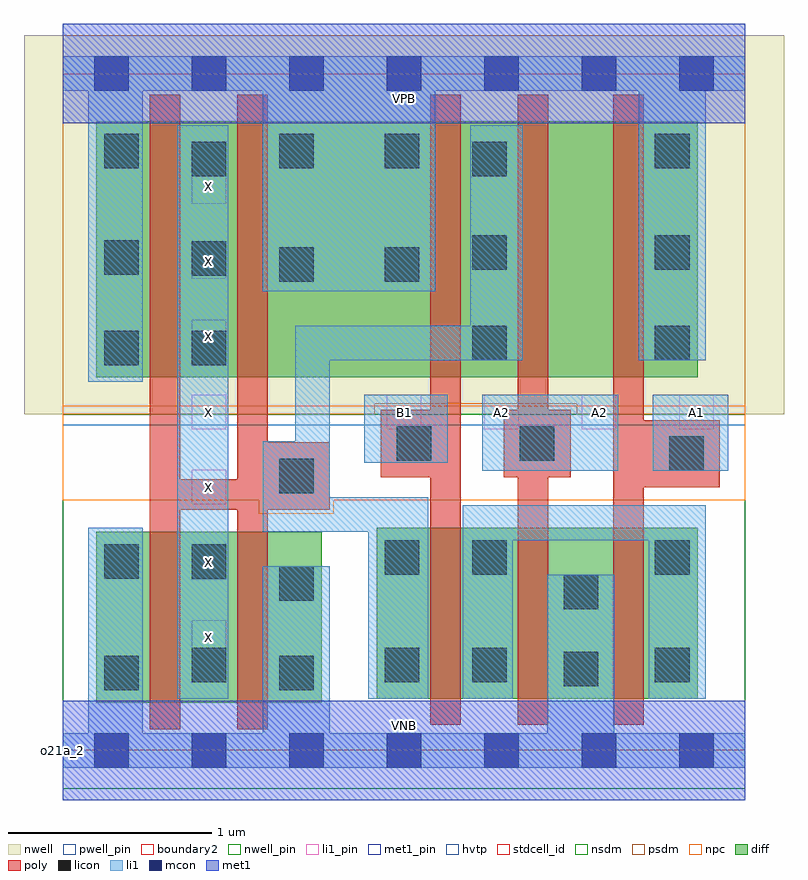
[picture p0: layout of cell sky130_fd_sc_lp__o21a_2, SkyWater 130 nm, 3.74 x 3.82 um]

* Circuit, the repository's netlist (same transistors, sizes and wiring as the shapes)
* Copyright 2020 The SkyWater PDK Authors
*
* Licensed under the Apache License, Version 2.0 (the "License");
* you may not use this file except in compliance with the License.
* You may obtain a copy of the License at
*
*     https://www.apache.org/licenses/LICENSE-2.0
*
* Unless required by applicable law or agreed to in writing, software
* distributed under the License is distributed on an "AS IS" BASIS,
* WITHOUT WARRANTIES OR CONDITIONS OF ANY KIND, either express or implied.
* See the License for the specific language governing permissions and
* limitations under the License.
*
* SPDX-License-Identifier: Apache-2.0

.SUBCKT sky130_fd_sc_lp__o21a_2 A1 A2 B1 VGND VNB VPB VPWR X
*.PININFO A1:I A2:I B1:I VGND:I VNB:I VPB:I VPWR:I X:O
MMPA0 VPWR A1 sndA1 VPB sky130_fd_pr__pfet_01v8_hvt m=1 w=1.26U l=0.15U mult=1
+ sa=0.265 sb=0.265 sd=0.28 area=0.063 perim=1.14
MMPA1 sndA1 A2 y VPB sky130_fd_pr__pfet_01v8_hvt m=1 w=1.26U l=0.15U mult=1 sa=0.265
+ sb=0.265 sd=0.28 area=0.063 perim=1.14
MMPB0 VPWR B1 y VPB sky130_fd_pr__pfet_01v8_hvt m=1 w=1.26U l=0.15U mult=1 sa=0.265
+ sb=0.265 sd=0.28 area=0.063 perim=1.14
MMIPX X y VPWR VPB sky130_fd_pr__pfet_01v8_hvt m=2 w=1.26U l=0.15U mult=1 sa=0.265
+ sb=0.265 sd=0.28 area=0.063 perim=1.14
MMNA0 pndA A1 VGND VNB sky130_fd_pr__nfet_01v8 m=1 w=0.84U l=0.15U mult=1 sa=0.265
+ sb=0.265 sd=0.28 area=0.063 perim=1.14
MMNA1 pndA A2 VGND VNB sky130_fd_pr__nfet_01v8 m=1 w=0.84U l=0.15U mult=1 sa=0.265
+ sb=0.265 sd=0.28 area=0.063 perim=1.14
MMNB0 y B1 pndA VNB sky130_fd_pr__nfet_01v8 m=1 w=0.84U l=0.15U mult=1 sa=0.265
+ sb=0.265 sd=0.28 area=0.063 perim=1.14
MMINX X y VGND VNB sky130_fd_pr__nfet_01v8 m=2 w=0.84U l=0.15U mult=1 sa=0.265
+ sb=0.265 sd=0.28 area=0.063 perim=1.14
.ENDS sky130_fd_sc_lp__o21a_2

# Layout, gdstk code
import gdstk
lib = gdstk.Library(unit=1e-6, precision=1e-09)
def R(c, l, rs):  # rectangles x0, y0, x1, y1
    for r in rs: c.add(gdstk.rectangle(r[:2], r[2:], *l))
def A(c, l, x, y, w, h, nx, ny, dx, dy):  # array of equal rectangles
    R(c, l, [(x+i*dx, y+j*dy, x+i*dx+w, y+j*dy+h) for i in range(nx) for j in range(ny)])
def P(c, l, *ps):  # polygons
    for p in ps: c.add(gdstk.Polygon(p, *l))
nwell_pin = (64, 16)
nwell = (64, 20)
diff = (65, 20)
poly = (66, 20)
licon = (66, 44)
li1_pin = (67, 16)
li1 = (67, 20)
mcon = (67, 44)
met1_pin = (68, 16)
met1 = (68, 20)
hvtp = (78, 44)
stdcell_id = (81, 4)
nsdm = (93, 44)
psdm = (94, 20)
npc = (95, 20)
pwell_pin = (122, 16)
boundary2 = (236, 0)

sky130_fd_sc_lp__o21a_2 = lib.new_cell('sky130_fd_sc_lp__o21a_2')
R(sky130_fd_sc_lp__o21a_2, nwell_pin, [(0,3.085,3.36,3.33)])
R(sky130_fd_sc_lp__o21a_2, nwell, [(-0.19,1.655,3.55,3.52)])
R(sky130_fd_sc_lp__o21a_2, diff, [(0.165,0.235,1.275,1.075), (1.545,0.255,3.125,1.095), (0.165,1.835,3.125,3.095)])
P(sky130_fd_sc_lp__o21a_2, poly, [(1.315,1.515),(1.01,1.515),(1.01,3.225),(0.86,3.225),(0.86,1.335),(0.58,1.335),(0.58,3.225),(0.43,3.225),(0.43,0.105),(0.58,0.105),(0.58,1.185),(0.86,1.185),(0.86,0.105),(1.01,0.105),(1.01,1.185),(1.315,1.185)],
  [(1.96,3.225),(1.81,3.225),(1.81,1.675),(1.565,1.675),(1.565,1.345),(1.81,1.345),(1.81,0.125),(1.96,0.125)],
  [(2.5,1.675),(2.39,1.675),(2.39,3.225),(2.24,3.225),(2.24,1.675),(2.17,1.675),(2.17,1.345),(2.24,1.345),(2.24,0.125),(2.39,0.125),(2.39,1.345),(2.5,1.345)],
  [(3.235,1.625),(2.86,1.625),(2.86,3.225),(2.71,3.225),(2.71,0.125),(2.86,0.125),(2.86,1.295),(3.235,1.295)])
R(sky130_fd_sc_lp__o21a_2, licon, [(0.205,0.295,0.375,0.465), (1.065,0.295,1.235,0.465), (2.465,0.315,2.635,0.485), (0.635,0.335,0.805,0.505), (1.585,0.335,1.755,0.505), (2.015,0.335,2.185,0.505), (2.915,0.335,3.085,0.505), (2.465,0.695,2.635,0.865), (1.065,0.735,1.235,0.905), (0.205,0.845,0.375,1.015), (0.635,0.845,0.805,1.015), (1.585,0.865,1.755,1.035), (2.015,0.865,2.185,1.035), (2.915,0.865,3.085,1.035), (1.065,1.265,1.235,1.435), (2.985,1.375,3.155,1.545), (1.645,1.425,1.815,1.595), (2.25,1.425,2.42,1.595), (0.205,1.895,0.375,2.065), (0.635,1.895,0.805,2.065), (2.015,1.92,2.185,2.09), (2.915,1.92,3.085,2.09), (1.065,2.305,1.235,2.475), (1.585,2.305,1.755,2.475), (0.635,2.335,0.805,2.505), (0.205,2.34,0.375,2.51), (2.015,2.365,2.185,2.535), (2.915,2.365,3.085,2.535), (0.635,2.825,0.805,2.995), (2.015,2.825,2.185,2.995), (0.205,2.865,0.375,3.035), (1.065,2.865,1.235,3.035), (1.585,2.865,1.755,3.035), (2.915,2.865,3.085,3.035)])
A(sky130_fd_sc_lp__o21a_2, li1_pin, 0.635, 0.47, 0.17, 0.17, 1, 7, 0, 0.37)
A(sky130_fd_sc_lp__o21a_2, li1_pin, 1.595, 1.58, 0.17, 0.17, 4, 1, 0.48, 0)
R(sky130_fd_sc_lp__o21a_2, li1, [(0.565,0.255,0.815,3.075), (2.065,1.375,2.735,1.75), (2.905,1.375,3.275,1.75), (1.485,1.415,1.895,1.75)])
P(sky130_fd_sc_lp__o21a_2, li1, [(2.835,1.92),(2.835,3.245),(1.835,3.245),(1.835,2.26),(0.985,2.26),(0.985,3.245),(0.395,3.245),(0.395,1.815),(0.125,1.815),(0.125,3.245),(0,3.245),(0,3.415),(3.36,3.415),(3.36,3.245),(3.165,3.245),(3.165,1.92)],
  [(0.985,0.085),(0.985,0.905),(1.315,0.905),(1.315,0.085),(2.385,0.085),(2.385,0.865),(2.715,0.865),(2.715,0.085),(3.36,0.085),(3.36,-0.085),(0,-0.085),(0,0.085),(0.125,0.085),(0.125,1.095),(0.395,1.095),(0.395,0.085)],
  [(1.145,2.09),(2.005,2.09),(2.005,3.075),(2.265,3.075),(2.265,1.92),(1.315,1.92),(1.315,1.245),(1.8,1.245),(1.8,0.255),(1.505,0.255),(1.505,1.075),(0.985,1.075),(0.985,1.52),(1.145,1.52)],
  [(2.885,1.035),(2.215,1.035),(2.215,0.255),(1.97,0.255),(1.97,1.205),(3.165,1.205),(3.165,0.255),(2.885,0.255)])
A(sky130_fd_sc_lp__o21a_2, mcon, 0.155, -0.085, 0.17, 0.17, 7, 2, 0.48, 3.33)
R(sky130_fd_sc_lp__o21a_2, met1_pin, [(0,0,3.36,0.245), (0,3.085,3.36,3.33)])
R(sky130_fd_sc_lp__o21a_2, met1, [(0,-0.245,3.36,0.245), (0,3.085,3.36,3.575)])
R(sky130_fd_sc_lp__o21a_2, hvtp, [(0,1.6,3.36,3.33)])
R(sky130_fd_sc_lp__o21a_2, stdcell_id, [(0,0,3.36,3.33)])
R(sky130_fd_sc_lp__o21a_2, nsdm, [(0,-0.19,3.36,1.655)])
P(sky130_fd_sc_lp__o21a_2, psdm, [(3.36,3.52),(0,3.52),(0,1.655),(1.535,1.655),(1.535,1.705),(2.53,1.705),(2.53,1.655),(3.36,1.655)])
P(sky130_fd_sc_lp__o21a_2, npc, [(3.36,1.695),(0,1.695),(0,1.23),(0.965,1.23),(0.965,1.165),(1.335,1.165),(1.335,1.23),(3.36,1.23)])
R(sky130_fd_sc_lp__o21a_2, pwell_pin, [(0,0,3.36,0.245)])
R(sky130_fd_sc_lp__o21a_2, boundary2, [(0,0,3.36,3.33)])
sky130_fd_sc_lp__o21a_2.add(gdstk.Label('VNB', (1.68,0.123), layer=64, texttype=59))
sky130_fd_sc_lp__o21a_2.add(gdstk.Label('VPB', (1.68,3.208), layer=64, texttype=5))
sky130_fd_sc_lp__o21a_2.add(gdstk.Label('o21a_2', (0,0), layer=83, texttype=44))
sky130_fd_sc_lp__o21a_2.add(gdstk.Label('VPWR', (1.68,3.208), layer=68, texttype=5))
sky130_fd_sc_lp__o21a_2.add(gdstk.Label('VGND', (1.68,0.123), layer=68, texttype=5))
sky130_fd_sc_lp__o21a_2.add(gdstk.Label('X', (0.72,0.555), layer=67, texttype=5))
sky130_fd_sc_lp__o21a_2.add(gdstk.Label('X', (0.72,0.925), layer=67, texttype=5))
sky130_fd_sc_lp__o21a_2.add(gdstk.Label('X', (0.72,1.295), layer=67, texttype=5))
sky130_fd_sc_lp__o21a_2.add(gdstk.Label('X', (0.72,1.665), layer=67, texttype=5))
sky130_fd_sc_lp__o21a_2.add(gdstk.Label('X', (0.72,2.035), layer=67, texttype=5))
sky130_fd_sc_lp__o21a_2.add(gdstk.Label('X', (0.72,2.405), layer=67, texttype=5))
sky130_fd_sc_lp__o21a_2.add(gdstk.Label('X', (0.72,2.775), layer=67, texttype=5))
sky130_fd_sc_lp__o21a_2.add(gdstk.Label('A2', (2.16,1.665), layer=67, texttype=5))
sky130_fd_sc_lp__o21a_2.add(gdstk.Label('A2', (2.64,1.665), layer=67, texttype=5))
sky130_fd_sc_lp__o21a_2.add(gdstk.Label('B1', (1.68,1.665), layer=67, texttype=5))
sky130_fd_sc_lp__o21a_2.add(gdstk.Label('A1', (3.12,1.665), layer=67, texttype=5))

lib.write_gds('sky130_fd_sc_lp__o21a_2.gds')
